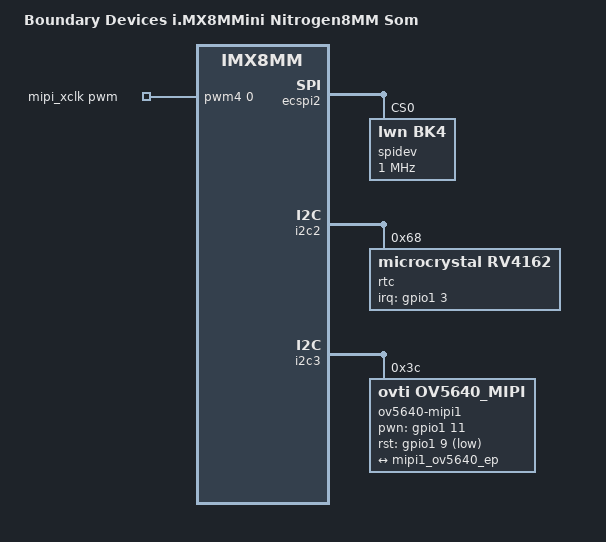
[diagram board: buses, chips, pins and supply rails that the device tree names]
// SPDX-License-Identifier: (GPL-2.0+ OR MIT)
/*
 * Copyright 2019 Boundary Devices
 */

#define TOUCHSCREEN_I2C_BUS	i2c4
#include "imx8mm-nitrogen8mm_rev2.dts"

/ {
	model = "Boundary Devices i.MX8MMini Nitrogen8MM Som";
	compatible = "ezurio,imx8mm-nitrogen8mm_som", "fsl,imx8mm";

	aliases {
		reg_sw4 = &reg_buck4;
		ts_goodix2 = &ts_goodix2;
	};

	mipi_xclk: mipi-xclk {
		assigned-clocks = <&clk IMX8MM_CLK_PWM4>;
		assigned-clock-parents = <&clk IMX8MM_SYS_PLL1_40M>;
		compatible = "pwm-clock";
		#clock-cells = <0>;
		clock-frequency = <20000000>;
		clock-output-names = "mipi_pwm4";
		pwms = <&pwm4 0 50 0>; /* 20 MHz */
	};
};

&ecspi2 {
	/delete-node/ can@0;

	spidev@0 {
		reg = <0>;
		compatible = "lwn,bk4";
		spi-max-frequency = <1000000>;
	};
};

&i2c2 {
	ts_goodix2: touchscreen@5d {
		compatible = "goodix,gt9271";
		display = <&display_subsystem>;
		esd-recovery-timeout-ms = <2000>;
		interrupts-extended = <&gpio1 6 IRQ_TYPE_LEVEL_HIGH>;
		irq-gpios = <&gpio1 6 GPIO_ACTIVE_HIGH>;
		pinctrl-names = "default";
		pinctrl-0 = <&pinctrl_ts_gt911>;
		reg = <0x5d>;
		reset-gpios = <&gpio1 7 GPIO_ACTIVE_HIGH>;
		status = "disabled";
	};

	rtc@68 {
		compatible = "microcrystal,rv4162";
		pinctrl-names = "default";
		pinctrl-0 = <&pinctrl_i2c2_rv4162>;
		reg = <0x68>;
		interrupts-extended = <&gpio1 3 IRQ_TYPE_LEVEL_LOW>;
		wakeup-source;
	};
};

&i2c3 {
	/delete-node/ i2cmux@70;

	ov5640-mipi1@3c {
		clocks = <&mipi_xclk>;
		clock-names = "csi_mclk";
		compatible = "ovti,ov5640_mipi";
		csi_id = <0>;
		mclk = <20000000>;
		mclk_source = <0>;
		pinctrl-names = "default";
		pinctrl-0 = <&pinctrl_i2c3_ov5640_mipi>;
		pwn-gpios = <&gpio1 11 GPIO_ACTIVE_HIGH>;
		rst-gpios = <&gpio1 9 GPIO_ACTIVE_LOW>;
		reg = <0x3c>;
		status = "okay";

		port {
			ov5640_mipi1_ep: endpoint {
				remote-endpoint = <&mipi1_ov5640_ep>;
			};
		};
	};
};

&iomuxc {
	/delete-property/ pinctrl-names;
	/delete-property/ pinctrl-0;

	/delete-node/ ecspi2-mcp2515tgrp;
	/delete-node/ hoggrp;
	/delete-node/ i2c3a-rv4162grp;
	/delete-node/ i2c3b-ov5640-mipigrp;
	/delete-node/ usbotg2grp;

	pinctrl_sn65dsi83: sn65dsi83grp {
		fsl,pins = <
			MX8MM_IOMUXC_GPIO1_IO01_GPIO1_IO1	0x04
			MX8MM_IOMUXC_SAI3_TXC_GPIO5_IO0	0x106
		>;
	};

	pinctrl_i2c2_rv4162: i2c2-rv4162grp {
		fsl,pins = <
			MX8MM_IOMUXC_GPIO1_IO03_GPIO1_IO3	0x1c0
		>;
	};

	pinctrl_i2c3_ov5640_mipi: i2c3-ov5640-mipigrp {
		fsl,pins = <
			MX8MM_IOMUXC_GPIO1_IO11_GPIO1_IO11	0x141
			MX8MM_IOMUXC_GPIO1_IO09_GPIO1_IO9	0x101
		>;
	};

	pinctrl_lt8912_2: lt8912_2grp {
		fsl,pins = <
			MX8MM_IOMUXC_SAI3_TXC_GPIO5_IO0		0x16
			MX8MM_IOMUXC_GPIO1_IO01_GPIO1_IO1	0x1c0
		>;
	};

	pinctrl_pwm4: pwm4grp {
		fsl,pins = <
			MX8MM_IOMUXC_GPIO1_IO15_PWM4_OUT	0x16
		>;
	};

	pinctrl_usbotg2: usbotg2grp {
		fsl,pins = <
			MX8MM_IOMUXC_GPIO1_IO14_USB2_OTG_PWR	0x16
			MX8MM_IOMUXC_GPIO1_IO08_GPIO1_IO8	0x140
		>;
	};

	pinctrl_wdog_gpio: wdog-gpiogrp {
		fsl,pins = <
			MX8MM_IOMUXC_GPIO1_IO02_GPIO1_IO2	0x140
		>;
	};
};

&lt8912_2 {
	reset-gpios = <&gpio5 0 GPIO_ACTIVE_LOW>;
};

&mipi_to_lvds {
	enable-gpios = <&gpio5 0 GPIO_ACTIVE_HIGH>;
};

&reg_buck4 {
	alias = <&reg_buck4>;
};

&usbotg2 {
	/delete-property/ over-current-active-low;
	disable-over-current;
};

&wdog1 {
	/*
	 * a very few boards need gpio mode, done by cmd_board
	 * fdt get value gp gpio0 phandle;
	 * fdt set wdog0 reset-gpios <${gp} 2 1>
	 */
	pinctrl-names = "default", "gpio";
	pinctrl-1 = <&pinctrl_wdog_gpio>;
};
